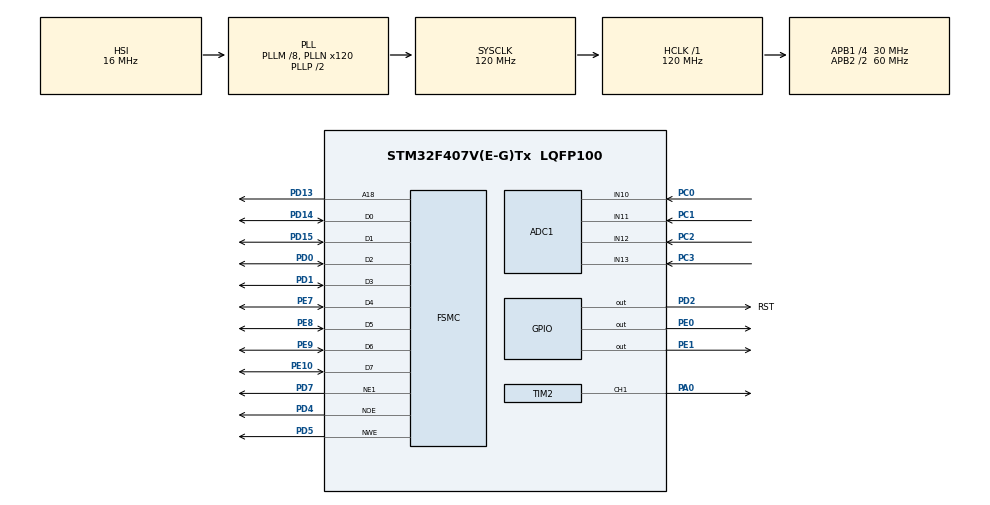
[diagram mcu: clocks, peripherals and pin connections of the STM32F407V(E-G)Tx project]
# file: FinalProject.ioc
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ADC1.Channel-1\#ChannelRegularConversion=ADC_CHANNEL_10
ADC1.Channel-2\#ChannelRegularConversion=ADC_CHANNEL_11
ADC1.Channel-3\#ChannelRegularConversion=ADC_CHANNEL_12
ADC1.Channel-4\#ChannelRegularConversion=ADC_CHANNEL_13
ADC1.DMAContinuousRequests=ENABLE
ADC1.EOCSelection=ADC_EOC_SEQ_CONV
ADC1.ExternalTrigConv=ADC_EXTERNALTRIGCONV_T2_TRGO
ADC1.NbrOfConversion=4
ADC1.NbrOfConversionFlag=1
ADC1.Rank-1\#ChannelRegularConversion=1
ADC1.Rank-2\#ChannelRegularConversion=2
ADC1.Rank-3\#ChannelRegularConversion=3
ADC1.Rank-4\#ChannelRegularConversion=4
ADC1.SamplingTime-1\#ChannelRegularConversion=ADC_SAMPLETIME_3CYCLES
ADC1.SamplingTime-2\#ChannelRegularConversion=ADC_SAMPLETIME_3CYCLES
ADC1.SamplingTime-3\#ChannelRegularConversion=ADC_SAMPLETIME_3CYCLES
ADC1.SamplingTime-4\#ChannelRegularConversion=ADC_SAMPLETIME_3CYCLES
ADC1.ScanConvMode=ENABLE
ADC1.master=1
Dma.ADC1.0.Direction=DMA_PERIPH_TO_MEMORY
Dma.ADC1.0.FIFOMode=DMA_FIFOMODE_DISABLE
Dma.ADC1.0.Instance=DMA2_Stream0
Dma.ADC1.0.MemDataAlignment=DMA_MDATAALIGN_HALFWORD
Dma.ADC1.0.MemInc=DMA_MINC_ENABLE
Dma.ADC1.0.Mode=DMA_CIRCULAR
Dma.ADC1.0.PeriphDataAlignment=DMA_PDATAALIGN_HALFWORD
Dma.ADC1.0.PeriphInc=DMA_PINC_DISABLE
Dma.ADC1.0.Priority=DMA_PRIORITY_LOW
Dma.Request0=ADC1
FREERTOS.BinarySemaphores01=DMA_Complete,Dynamic,NULL
FREERTOS.Queues01=location,1,4,1,Static,myQueue01BufferBuffer,myQueue01BufferControlBlock
FREERTOS.Tasks01=defaultTask,24,128,StartDefaultTask,Default,NULL,Dynamic,NULL,NULL;DanielTask,40,1024,DSPTask,Default,NULL,Static,DanielTaskBuffer,DanielTaskControlBlock;ZhiTask,8,128,DisplayTask,Default,NULL,Static,ZhiTaskBuffer,ZhiTaskControlBlock
FREERTOS.configTOTAL_HEAP_SIZE=10000
FSMC.AddressSetupTime1=6
FSMC.BusTurnAroundDuration1=0
FSMC.DataSetupTime1=6
Mcu.Family=STM32F4
Mcu.Name=STM32F407V(E-G)Tx
Mcu.Package=LQFP100
NVIC.DMA2_Stream0_IRQn=true\:5\:0\:false\:false\:true\:true\:false\:true
NVIC.PriorityGroup=NVIC_PRIORITYGROUP_4
NVIC.TIM1_UP_TIM10_IRQn=true\:0\:0\:false\:false\:true\:false\:false\:true
NVIC.TimeBase=TIM1_UP_TIM10_IRQn
NVIC.TimeBaseIP=TIM1
PA0-WKUP.Signal=S_TIM2_CH1_ETR
PA13.Mode=Serial_Wire
PA13.Signal=SYS_JTMS-SWDIO
PA14.Mode=Serial_Wire
PA14.Signal=SYS_JTCK-SWCLK
PC0.Signal=ADCx_IN10
PC1.Signal=ADCx_IN11
PC2.Signal=ADCx_IN12
PC3.Signal=ADCx_IN13
PD0.Mode=8b-d1
PD0.Signal=FSMC_D2
PD1.Mode=8b-d1
PD1.Signal=FSMC_D3
PD13.Mode=A18_1
PD13.Signal=FSMC_A18
PD14.Mode=8b-d1
PD14.Signal=FSMC_D0
PD15.Mode=8b-d1
PD15.Signal=FSMC_D1
PD2.GPIO_Label=RST
PD2.PinState=GPIO_PIN_SET
PD2.Signal=GPIO_Output
PD4.Mode=Lcd1
PD4.Signal=FSMC_NOE
PD5.Mode=Lcd1
PD5.Signal=FSMC_NWE
PD7.Mode=NorPsramChipSelect1_1
PD7.Signal=FSMC_NE1
PE0.Signal=GPIO_Output
PE1.Signal=GPIO_Output
PE10.Mode=8b-d1
PE10.Signal=FSMC_D7
PE7.Mode=8b-d1
PE7.Signal=FSMC_D4
PE8.Mode=8b-d1
PE8.Signal=FSMC_D5
PE9.Mode=8b-d1
PE9.Signal=FSMC_D6
ProjectManager.HeapSize=0x200
ProjectManager.StackSize=0x400
ProjectManager.TargetToolchain=STM32CubeIDE
RCC.48MHZClocksFreq_Value=60000000
RCC.AHBFreq_Value=120000000
RCC.APB1CLKDivider=RCC_HCLK_DIV4
RCC.APB1Freq_Value=30000000
RCC.APB1TimFreq_Value=60000000
RCC.APB2CLKDivider=RCC_HCLK_DIV2
RCC.APB2Freq_Value=60000000
RCC.APB2TimFreq_Value=120000000
RCC.CortexFreq_Value=120000000
RCC.DATA_CACHE_ENABLE=1
RCC.HCLKFreq_Value=120000000
RCC.HSE_VALUE=8000000
RCC.HSI_VALUE=16000000
RCC.LSE_VALUE=32768
RCC.PLLM=8
RCC.PLLN=120
RCC.SYSCLKFreq_VALUE=120000000
RCC.SYSCLKSource=RCC_SYSCLKSOURCE_PLLCLK
RCC.VCOOutputFreq_Value=240000000
SH.ADCx_IN10.0=ADC1_IN10,IN10
SH.ADCx_IN11.0=ADC1_IN11,IN11
SH.ADCx_IN12.0=ADC1_IN12,IN12
SH.ADCx_IN13.0=ADC1_IN13,IN13
SH.S_TIM2_CH1_ETR.0=TIM2_CH1,Output Compare1 CH1
TIM2.AutoReloadPreload=TIM_AUTORELOAD_PRELOAD_ENABLE
TIM2.Channel-Output\ Compare1\ CH1=TIM_CHANNEL_1
TIM2.OCMode_1=TIM_OCMODE_TOGGLE
TIM2.Period=289
TIM2.Prescaler=4
TIM2.TIM_MasterOutputTrigger=TIM_TRGO_UPDATE
VP_FREERTOS_VS_CMSIS_V2.Mode=CMSIS_V2
VP_SYS_VS_tim1.Mode=TIM1
board=custom

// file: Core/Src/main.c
/* USER CODE BEGIN Header */
/**
  ******************************************************************************
  * @file           : main.c
  * @brief          : Main program body
  ******************************************************************************
  * @attention
  *
  * <h2><center>&copy; Copyright (c) 2019 STMicroelectronics.
  * All rights reserved.</center></h2>
  *
  * This software component is licensed by ST under BSD 3-Clause license,
  * the "License"; You may not use this file except in compliance with the
  * License. You may obtain a copy of the License at:
  *                        opensource.org/licenses/BSD-3-Clause
  *
  ******************************************************************************
  */
/* USER CODE END Header */

#include "main.h"
#include "cmsis_os.h"
#include "adc.h"
#include "dma.h"
#include "tim.h"
#include "gpio.h"
#include "fsmc.h"

void SystemClock_Config(void);
void MX_FREERTOS_Init(void);

int main(void)
{

  /* MCU Configuration--------------------------------------------------------*/

  /* Reset of all peripherals, Initializes the Flash interface and the Systick. */
  HAL_Init();

  /* Configure the system clock */
  SystemClock_Config();

  /* Initialize all configured peripherals */
  MX_GPIO_Init();
  MX_DMA_Init();
  MX_ADC1_Init();
  MX_TIM2_Init();
  MX_FSMC_Init();

  /* Call init function for freertos objects (in freertos.c) */
  MX_FREERTOS_Init();

  /* Start scheduler */
  osKernelStart();

  /* We should never get here as control is now taken by the scheduler */

  /* Infinite loop */
  while (1)
  {

  }
}

void SystemClock_Config(void)
{
  RCC_OscInitTypeDef RCC_OscInitStruct = {0};
  RCC_ClkInitTypeDef RCC_ClkInitStruct = {0};

  /** Configure the main internal regulator output voltage
  */
  __HAL_RCC_PWR_CLK_ENABLE();
  __HAL_PWR_VOLTAGESCALING_CONFIG(PWR_REGULATOR_VOLTAGE_SCALE1);
  /** Initializes the CPU, AHB and APB busses clocks
  */
  RCC_OscInitStruct.OscillatorType = RCC_OSCILLATORTYPE_HSI;
  RCC_OscInitStruct.HSIState = RCC_HSI_ON;
  RCC_OscInitStruct.HSICalibrationValue = RCC_HSICALIBRATION_DEFAULT;
  RCC_OscInitStruct.PLL.PLLState = RCC_PLL_ON;
  RCC_OscInitStruct.PLL.PLLSource = RCC_PLLSOURCE_HSI;
  RCC_OscInitStruct.PLL.PLLM = 8;
  RCC_OscInitStruct.PLL.PLLN = 120;
  RCC_OscInitStruct.PLL.PLLP = RCC_PLLP_DIV2;
  RCC_OscInitStruct.PLL.PLLQ = 4;
  if (HAL_RCC_OscConfig(&RCC_OscInitStruct) != HAL_OK)
  {
    Error_Handler();
  }
  /** Initializes the CPU, AHB and APB busses clocks
  */
  RCC_ClkInitStruct.ClockType = RCC_CLOCKTYPE_HCLK|RCC_CLOCKTYPE_SYSCLK
                              |RCC_CLOCKTYPE_PCLK1|RCC_CLOCKTYPE_PCLK2;
  RCC_ClkInitStruct.SYSCLKSource = RCC_SYSCLKSOURCE_PLLCLK;
  RCC_ClkInitStruct.AHBCLKDivider = RCC_SYSCLK_DIV1;
  RCC_ClkInitStruct.APB1CLKDivider = RCC_HCLK_DIV4;
  RCC_ClkInitStruct.APB2CLKDivider = RCC_HCLK_DIV2;

  if (HAL_RCC_ClockConfig(&RCC_ClkInitStruct, FLASH_LATENCY_3) != HAL_OK)
  {
    Error_Handler();
  }
}

void HAL_TIM_PeriodElapsedCallback(TIM_HandleTypeDef *htim)
{
  if (htim->Instance == TIM1) {
    HAL_IncTick();
  }
}

void Error_Handler(void)
{
}

/************************ (C) COPYRIGHT STMicroelectronics *****END OF FILE****/

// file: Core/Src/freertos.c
/* USER CODE BEGIN Header */
/**
  ******************************************************************************
  * File Name          : freertos.c
  * Description        : Code for freertos applications
  ******************************************************************************
  * @attention
  *
  * <h2><center>&copy; Copyright (c) 2019 STMicroelectronics.
  * All rights reserved.</center></h2>
  *
  * This software component is licensed by ST under Ultimate Liberty license
  * SLA0044, the "License"; You may not use this file except in compliance with
  * the License. You may obtain a copy of the License at:
  *                             www.st.com/SLA0044
  *
  ******************************************************************************
  */
/* USER CODE END Header */

#include "FreeRTOS.h"
#include "task.h"
#include "main.h"
#include "cmsis_os.h"

/* USER CODE BEGIN Includes */
#include "adc.h"
#include "semphr.h"
#include "queue.h"
/* USER CODE END Includes */

typedef StaticTask_t osStaticThreadDef_t;
typedef StaticQueue_t osStaticMessageQDef_t;
osThreadId_t defaultTaskHandle;
osThreadId_t DanielTaskHandle;
uint32_t DanielTaskBuffer[ 1024 ];
osStaticThreadDef_t DanielTaskControlBlock;
osThreadId_t ZhiTaskHandle;
uint32_t ZhiTaskBuffer[ 128 ];
osStaticThreadDef_t ZhiTaskControlBlock;
osMessageQueueId_t locationHandle;
uint8_t myQueue01BufferBuffer[ 1 * 4 ];
osStaticMessageQDef_t myQueue01BufferControlBlock;
osSemaphoreId_t DMA_CompleteHandle;

void StartDefaultTask(void *argument);
void DSPTask(void *argument);
void DisplayTask(void *argument);

void MX_FREERTOS_Init(void); /* (MISRA C 2004 rule 8.1) */

void MX_FREERTOS_Init(void) {
osKernelInitialize();

  /* Create the semaphores(s) */
  /* definition and creation of DMA_Complete */
  const osSemaphoreAttr_t DMA_Complete_attributes = {
    .name = "DMA_Complete"
  };
  DMA_CompleteHandle = osSemaphoreNew(1, 1, &DMA_Complete_attributes);

  /* Create the queue(s) */
  /* definition and creation of location */
  const osMessageQueueAttr_t location_attributes = {
    .name = "location",
    .cb_mem = &myQueue01BufferControlBlock,
    .cb_size = sizeof(myQueue01BufferControlBlock),
    .mq_mem = &myQueue01BufferBuffer,
    .mq_size = sizeof(myQueue01BufferBuffer)
  };
  locationHandle = osMessageQueueNew (1, 4, &location_attributes);

  /* Create the thread(s) */
  /* definition and creation of defaultTask */
  const osThreadAttr_t defaultTask_attributes = {
    .name = "defaultTask",
    .priority = (osPriority_t) osPriorityNormal,
    .stack_size = 128
  };
  defaultTaskHandle = osThreadNew(StartDefaultTask, NULL, &defaultTask_attributes);

  /* definition and creation of DanielTask */
  const osThreadAttr_t DanielTask_attributes = {
    .name = "DanielTask",
    .stack_mem = &DanielTaskBuffer[0],
    .stack_size = sizeof(DanielTaskBuffer),
    .cb_mem = &DanielTaskControlBlock,
    .cb_size = sizeof(DanielTaskControlBlock),
    .priority = (osPriority_t) osPriorityHigh,
  };
  DanielTaskHandle = osThreadNew(DSPTask, NULL, &DanielTask_attributes);

  /* definition and creation of ZhiTask */
  const osThreadAttr_t ZhiTask_attributes = {
    .name = "ZhiTask",
    .stack_mem = &ZhiTaskBuffer[0],
    .stack_size = sizeof(ZhiTaskBuffer),
    .cb_mem = &ZhiTaskControlBlock,
    .cb_size = sizeof(ZhiTaskControlBlock),
    .priority = (osPriority_t) osPriorityLow,
  };
  ZhiTaskHandle = osThreadNew(DisplayTask, NULL, &ZhiTask_attributes);

}

void StartDefaultTask(void *argument)
{
  for(;;)
  {
    osDelay(1);
  }
}

void DSPTask(void *argument)
{
  /* USER CODE BEGIN DSPTask */
	DMA_Configuration();
	uint8_t decision;
	int16_t location[2];

  /* Infinite loop */
  for(;;)
  {
	osSemaphoreAcquire(DMA_CompleteHandle,osWaitForever);

	if(HAL_GPIO_ReadPin(GPIOE, GPIO_PIN_0) == GPIO_PIN_SET){
		HAL_GPIO_WritePin(GPIOE,GPIO_PIN_0,GPIO_PIN_RESET);
	}else{
		HAL_GPIO_WritePin(GPIOE,GPIO_PIN_0,GPIO_PIN_SET);
	}

	HAL_GPIO_WritePin(GPIOE,GPIO_PIN_1,GPIO_PIN_SET);
	classification_Algorithm(&decision);

	if(decision == 1){
		location_Algorithm(location);
		osMessageQueuePut(locationHandle, location,0, 0);
	}else{
		HAL_GPIO_WritePin(GPIOE,GPIO_PIN_1,GPIO_PIN_RESET);
	}

  }
  /* USER CODE END DSPTask */
}

void DisplayTask(void *argument)
{
  /* USER CODE BEGIN DisplayTask */
	// Local Variables
	int16_t location[2];
	char charloc[9];
	int16_t cx;
	int16_t cy;
	int16_t sx;
	int16_t sy;

	// Initialize Screen
	ILI9341_Init();
	ILI9341_setRotation(4);
	ILI9341_Fill(COLOR_CYAN);
	ILI9341_printText("A.R.C.H.E.R.", 60, 0, COLOR_RED, COLOR_RED, 3);
	ILI9341_printText("Sound position", 15, 218, COLOR_ORANGE, COLOR_ORANGE, 2);
	ILI9341_fillCircle(190,221, 2, COLOR_ORANGE);
	ILI9341_fillCircle(190,231, 2, COLOR_ORANGE);
	printgrid();
	drawgridline();
	drawmic();

	//uint8_t data[] = {0x01,0x02,0x03,0x04,0x05,0x0a,0x0b,0x0c};
	//ILI9341_Init();
  /* Infinite loop */
  for(;;)
  {
	osMessageQueueGet(locationHandle, &location, NULL, osWaitForever);

	// Clear Screen
	ILI9341_Fill_Rect(6,26,316,210,COLOR_CYAN);
	drawmic();
	drawgridline();
	ILI9341_Fill_Rect(200,210,300,239,COLOR_CYAN);
	//242*148 = x*y, yinput = i, xinput = x

	// Update Screen
	cy = location[1];	//length
	cx = location[0]; //width
	sx = 8+cx*1.3; //length
	sy = 208-cy*1.2;	//width
	printlocation(sx,sy); //image
	loc_cor(cx,cy,charloc);
	ILI9341_printText(charloc, 200, 218, COLOR_RED, COLOR_RED, 2); //coordinate output
	if(sx>314) sx=314;
	if(sy>208) sy=208;
	ILI9341_fillCircle(sx,sy, 1, COLOR_RED); //exact location
	ILI9341_Fill_Rect(308,210,320,239,COLOR_CYAN);
	drawmic();

	HAL_GPIO_WritePin(GPIOB,GPIO_PIN_9,GPIO_PIN_RESET);
  }
  /* USER CODE END DisplayTask */
}

/* USER CODE BEGIN Application */
void DMA_Semaphore_Release() {

	osSemaphoreRelease(DMA_CompleteHandle);

}
/* USER CODE END Application */

/************************ (C) COPYRIGHT STMicroelectronics *****END OF FILE****/
